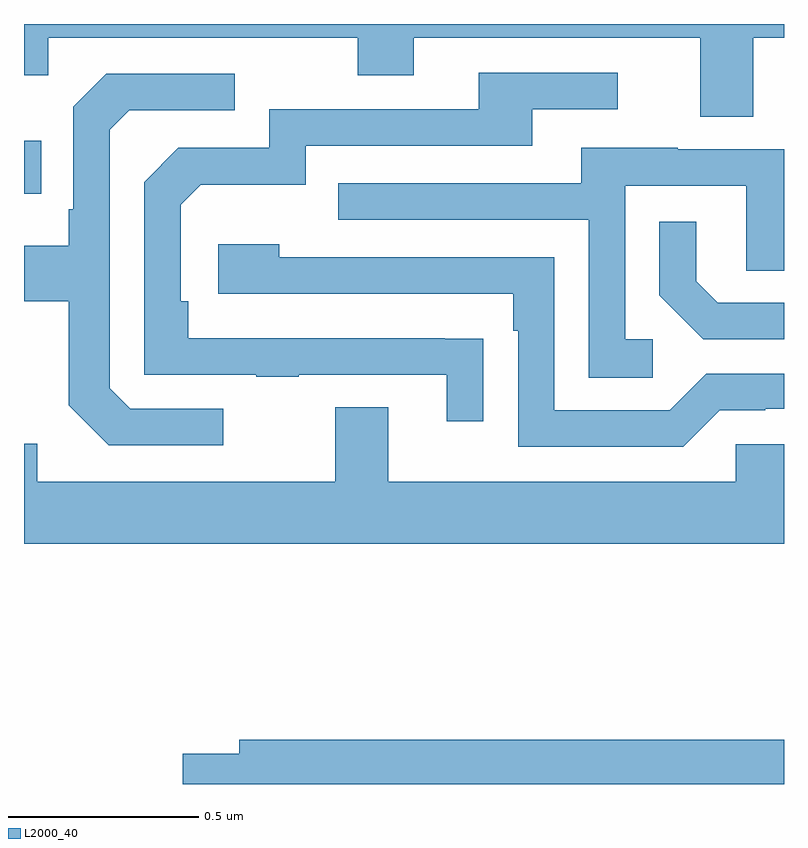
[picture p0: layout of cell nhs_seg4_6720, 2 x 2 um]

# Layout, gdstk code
import gdstk
lib = gdstk.Library(unit=1e-6, precision=1e-09)
def R(c, l, rs):  # rectangles x0, y0, x1, y1
    for r in rs: c.add(gdstk.rectangle(r[:2], r[2:], *l))
def P(c, l, *ps):  # polygons
    for p in ps: c.add(gdstk.Polygon(p, *l))
L2000_40 = (2000, 40)

nhs_seg4_6720 = lib.new_cell('nhs_seg4_6720')
R(nhs_seg4_6720, L2000_40, [(194,752.453,194.045,752.593)])
P(nhs_seg4_6720, L2000_40, [(195.919,752.864),(196,752.864),(196,752.9),(194,752.9),(194,752.765),(194.064,752.765),(194.064,752.864),(194.878,752.864),(194.878,752.765),(195.025,752.765),(195.025,752.864),(195.779,752.864),(195.779,752.656),(195.919,752.656)],
  [(195.209,752.072),(195.107,752.072),(195.107,752.073),(194.432,752.073),(194.432,752.17),(194.412,752.17),(194.412,752.424),(194.465,752.477),(194.742,752.477),(194.742,752.58),(195.337,752.58),(195.337,752.676),(195.562,752.676),(195.562,752.772),(195.197,752.772),(195.197,752.676),(194.646,752.676),(194.646,752.574),(194.406,752.574),(194.316,752.484),(194.316,751.977),(194.611,751.977),(194.611,751.972),(194.723,751.972),(194.723,751.977),(195.113,751.977),(195.113,751.854),(195.209,751.854)],
  [(194.524,751.887),(194.28,751.887),(194.226,751.941),(194.226,752.622),(194.277,752.673),(194.554,752.673),(194.554,752.769),(194.217,752.769),(194.13,752.682),(194.13,752.413),(194.118,752.413),(194.118,752.317),(194,752.317),(194,752.17),(194.118,752.17),(194.118,751.897),(194.223,751.791),(194.524,751.791)],
  [(195.655,752.07),(195.582,752.07),(195.582,752.475),(195.9,752.475),(195.9,752.251),(196,752.251),(196,752.571),(195.721,752.571),(195.721,752.575),(195.467,752.575),(195.467,752.481),(194.827,752.481),(194.827,752.385),(195.486,752.385),(195.486,751.969),(195.655,751.969)],
  [(196,752.166),(195.826,752.166),(195.769,752.223),(195.769,752.38),(195.672,752.38),(195.672,752.186),(195.788,752.07),(196,752.07)],
  [(195.831,751.884),(195.95,751.884),(195.95,751.887),(196,751.887),(196,751.98),(195.795,751.98),(195.699,751.884),(195.396,751.884),(195.396,752.286),(194.672,752.286),(194.672,752.32),(194.511,752.32),(194.511,752.19),(195.287,752.19),(195.287,752.093),(195.3,752.093),(195.3,751.788),(195.735,751.788)],
  [(196,751.794),(195.873,751.794),(195.873,751.696),(194.959,751.696),(194.959,751.891),(194.819,751.891),(194.819,751.696),(194.035,751.696),(194.035,751.795),(194,751.795),(194,751.532),(196,751.532)],
  [(196,751.016),(194.567,751.016),(194.567,750.98),(194.418,750.98),(194.418,750.9),(196,750.9)])

lib.write_gds('nhs_seg4_6720.gds')
